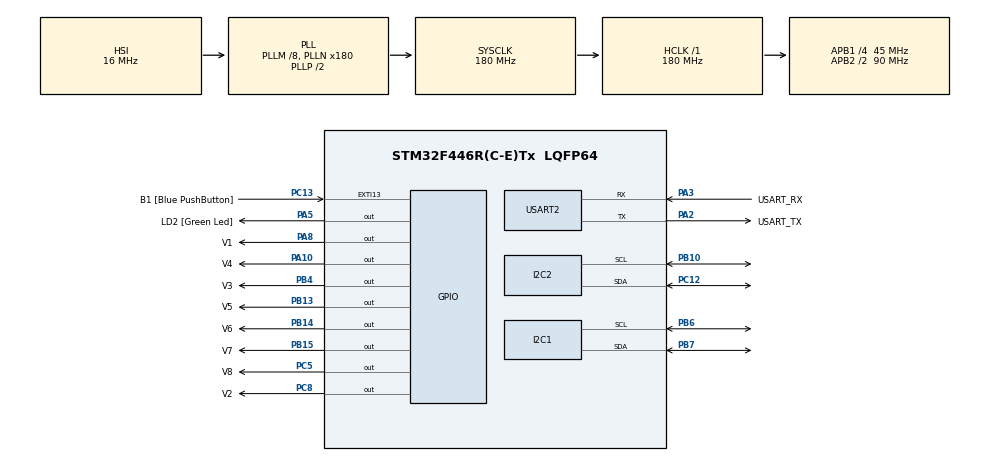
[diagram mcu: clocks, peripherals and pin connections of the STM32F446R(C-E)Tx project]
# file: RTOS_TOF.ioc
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FREERTOS.INCLUDE_vTaskCleanUpResources=1
FREERTOS.INCLUDE_vTaskDelayUntil=1
FREERTOS.INCLUDE_xTaskAbortDelay=1
FREERTOS.Tasks01=defaultTask,0,128,StartDefaultTask,Default,NULL,Dynamic,NULL,NULL;myTask02,-3,128,StartTask02,Default,NULL,Dynamic,NULL,NULL;myTask03,-3,128,StartTask03,Default,NULL,Dynamic,NULL,NULL;myTask04,-3,128,StartTask04,Default,NULL,Dynamic,NULL,NULL;myTask05,-3,128,StartTask05,Default,NULL,Dynamic,NULL,NULL;myTask06,-3,128,StartTask06,Default,NULL,Dynamic,NULL,NULL;myTask07,-3,128,StartTask07,Default,NULL,Dynamic,NULL,NULL
FREERTOS.configUSE_NEWLIB_REENTRANT=1
Mcu.Family=STM32F4
Mcu.Name=STM32F446R(C-E)Tx
Mcu.Package=LQFP64
NVIC.PriorityGroup=NVIC_PRIORITYGROUP_4
NVIC.TIM1_UP_TIM10_IRQn=true\:15\:0\:false\:false\:true\:false\:false\:true\:true
NVIC.TimeBase=TIM1_UP_TIM10_IRQn
NVIC.TimeBaseIP=TIM1
PA10.GPIO_Label=V4
PA10.Signal=GPIO_Output
PA13.GPIO_Label=TMS
PA13.Mode=Serial_Wire
PA13.Signal=SYS_JTMS-SWDIO
PA14.GPIO_Label=TCK
PA14.Mode=Serial_Wire
PA14.Signal=SYS_JTCK-SWCLK
PA2.GPIO_Label=USART_TX
PA2.Mode=Asynchronous
PA2.Signal=USART2_TX
PA3.GPIO_Label=USART_RX
PA3.Mode=Asynchronous
PA3.Signal=USART2_RX
PA5.GPIO_Label=LD2 [Green Led]
PA5.Signal=GPIO_Output
PA8.GPIO_Label=V1
PA8.Signal=GPIO_Output
PB10.Mode=I2C
PB10.Signal=I2C2_SCL
PB13.GPIO_Label=V5
PB13.Signal=GPIO_Output
PB14.GPIO_Label=V6
PB14.Signal=GPIO_Output
PB15.GPIO_Label=V7
PB15.Signal=GPIO_Output
PB3.GPIO_Label=SWO
PB3.Signal=SYS_JTDO-SWO
PB4.GPIO_Label=V3
PB4.Signal=GPIO_Output
PB6.Mode=I2C
PB6.Signal=I2C1_SCL
PB7.Mode=I2C
PB7.Signal=I2C1_SDA
PC12.Mode=I2C
PC12.Signal=I2C2_SDA
PC13.GPIO_Label=B1 [Blue PushButton]
PC13.GPIO_ModeDefaultEXTI=GPIO_MODE_IT_FALLING
PC13.Signal=GPXTI13
PC14-OSC32_IN.Mode=LSE-External-Oscillator
PC14-OSC32_IN.Signal=RCC_OSC32_IN
PC15-OSC32_OUT.Mode=LSE-External-Oscillator
PC15-OSC32_OUT.Signal=RCC_OSC32_OUT
PC5.GPIO_Label=V8
PC5.Signal=GPIO_Output
PC8.GPIO_Label=V2
PC8.Signal=GPIO_Output
PH0-OSC_IN.Mode=HSE-External-Oscillator
PH0-OSC_IN.Signal=RCC_OSC_IN
PH1-OSC_OUT.Mode=HSE-External-Oscillator
PH1-OSC_OUT.Signal=RCC_OSC_OUT
ProjectManager.HeapSize=0x200
ProjectManager.StackSize=0x400
ProjectManager.TargetToolchain=STM32CubeIDE
RCC.48MHZClocksFreq_Value=84000000
RCC.AHBFreq_Value=180000000
RCC.APB1CLKDivider=RCC_HCLK_DIV4
RCC.APB1Freq_Value=45000000
RCC.APB1TimFreq_Value=90000000
RCC.APB2CLKDivider=RCC_HCLK_DIV2
RCC.APB2Freq_Value=90000000
RCC.APB2TimFreq_Value=180000000
RCC.CortexFreq_Value=180000000
RCC.FLatency-AdvancedSettings=FLASH_LATENCY_5
RCC.HCLKFreq_Value=180000000
RCC.HSE_VALUE=8000000
RCC.HSI_VALUE=16000000
RCC.PLLM=8
RCC.PLLN=180
RCC.SYSCLKFreq_VALUE=180000000
RCC.SYSCLKSource=RCC_SYSCLKSOURCE_PLLCLK
RCC.USBFreq_Value=180000000
RCC.VCOOutputFreq_Value=360000000
USART2.VirtualMode=VM_ASYNC
VP_FREERTOS_VS_CMSIS_V1.Mode=CMSIS_V1
VP_SYS_VS_tim1.Mode=TIM1
board=NUCLEO-F446RE

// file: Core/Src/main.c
/* USER CODE BEGIN Header */
/**
  ******************************************************************************
  * @file           : main.c
  * @brief          : Main program body
  ******************************************************************************
  * @attention
  *
  * Copyright (c) 2025 STMicroelectronics.
  * All rights reserved.
  *
  * This software is licensed under terms that can be found in the LICENSE file
  * in the root directory of this software component.
  * If no LICENSE file comes with this software, it is provided AS-IS.
  *
  ******************************************************************************
  */
/* USER CODE END Header */
#include "main.h"
#include "cmsis_os.h"
#include "string.h"
#include "VL53L0X.h"

I2C_HandleTypeDef hi2c1;
I2C_HandleTypeDef hi2c2;

UART_HandleTypeDef huart2;

osThreadId myTask01Handle;
osThreadId myTask02Handle;
osThreadId myTask03Handle;

void SystemClock_Config(void);
static void MX_GPIO_Init(void);
static void MX_I2C1_Init(void);
static void MX_I2C2_Init(void);
static void MX_USART2_UART_Init(void);

void StartTask01(void const * argument);
void StartTask02(void const * argument);
void StartTask03(void const * argument);

/* USER CODE BEGIN PFP */
void reset_GPIO(void);
void set_TOF1(void);
void set_TOF2(void);
void set_TOF3(void);
void set_TOF4(void);
void set_TOF5(void);
void set_TOF6(void);
void set_TOF7(void);
void set_TOF8(void);
void setup_sensor(void);
/* USER CODE END PFP */
statInfo_t_VL53L0X extraStats1,
extraStats2,
extraStats3,
extraStats4,
extraStats5,
extraStats6,
extraStats7,
extraStats8;

uint16_t distance1;
uint16_t distance2;
uint16_t distance3;
uint16_t distance4;
uint16_t distance5;
uint16_t distance6;
uint16_t distance7;
uint16_t distance8;

int main(void)
{

  /* MCU Configuration--------------------------------------------------------*/

  /* Reset of all peripherals, Initializes the Flash interface and the Systick. */
  HAL_Init();

  /* Configure the system clock */
  SystemClock_Config();

  /* Initialize all configured peripherals */
  MX_GPIO_Init();
  MX_I2C1_Init();
  MX_I2C2_Init();
  MX_USART2_UART_Init();
  /* USER CODE BEGIN 2 */
  /*reset_GPIO();
  set_TOF1();
  set_TOF2();
  set_TOF3();
  set_TOF4();
  set_TOF5();
  set_TOF6();
  set_TOF7();
  set_TOF8();
  setup_sensor();*/

  HAL_GPIO_WritePin(V1_GPIO_Port, V1_Pin, GPIO_PIN_RESET);
  HAL_GPIO_WritePin(V2_GPIO_Port, V2_Pin, GPIO_PIN_RESET);
  HAL_GPIO_WritePin(V3_GPIO_Port, V3_Pin, GPIO_PIN_RESET);
  HAL_GPIO_WritePin(V4_GPIO_Port, V4_Pin, GPIO_PIN_RESET);
  HAL_GPIO_WritePin(V5_GPIO_Port, V5_Pin, GPIO_PIN_RESET);
  HAL_GPIO_WritePin(V6_GPIO_Port, V6_Pin, GPIO_PIN_RESET);
  HAL_GPIO_WritePin(V7_GPIO_Port, V7_Pin, GPIO_PIN_RESET);
  HAL_GPIO_WritePin(V8_GPIO_Port, V8_Pin, GPIO_PIN_RESET);
  HAL_Delay(10);

  //sensor 1
   HAL_GPIO_WritePin(V1_GPIO_Port, V1_Pin, GPIO_PIN_SET);
   HAL_Delay(50);
   if(initVL53L0X(1, &hi2c1)){
 	  HAL_UART_Transmit(&huart2, "sensor 1 initialized/n", strlen("sensor 1 initialized"), HAL_MAX_DELAY);
   }
   else{
	   HAL_UART_Transmit(&huart2, "error", strlen("error"), HAL_MAX_DELAY);
   }

  setAddress_VL53L0X(0x30);
  extraStats1.address=0x30;

  //sensor 2
   HAL_GPIO_WritePin(V2_GPIO_Port, V2_Pin, GPIO_PIN_SET);
   HAL_Delay(50);

  if(initVL53L0X(1, &hi2c1)){
   HAL_UART_Transmit(&huart2, "sensor 2 initialized/n", strlen("sensor 2 initialized"), HAL_MAX_DELAY);
   }
  else{
 	   HAL_UART_Transmit(&huart2, "error", strlen("error"), HAL_MAX_DELAY);
    }
//
  setAddress_VL53L0X(0x32);
   extraStats2.address=0x32;

   //sensor 3
   HAL_GPIO_WritePin(V3_GPIO_Port, V3_Pin, GPIO_PIN_SET);
   HAL_Delay(50);

  if(initVL53L0X(1, &hi2c1)){
   HAL_UART_Transmit(&huart2, "sensor 3 initialized/n", strlen("sensor 3 initialized"), HAL_MAX_DELAY);
   }
  else{
 	   HAL_UART_Transmit(&huart2, "error", strlen("error"), HAL_MAX_DELAY);
    }
//
  setAddress_VL53L0X(0x34);
   extraStats3.address=0x34;

   //sensor 4
   HAL_GPIO_WritePin(V4_GPIO_Port, V4_Pin, GPIO_PIN_SET);
   HAL_Delay(50);

  if(initVL53L0X(1, &hi2c1)){
   HAL_UART_Transmit(&huart2, "sensor 4 initialized/n", strlen("sensor 4 initialized"), HAL_MAX_DELAY);
   }
  else{
 	   HAL_UART_Transmit(&huart2, "error", strlen("error"), HAL_MAX_DELAY);
    }
//
  setAddress_VL53L0X(0x36);
   extraStats4.address=0x36;

   //sensor 5
   HAL_GPIO_WritePin(V5_GPIO_Port, V5_Pin, GPIO_PIN_SET);
   HAL_Delay(50);
   if(initVL53L0X(1, &hi2c1)){
 	  HAL_UART_Transmit(&huart2, "sensor 5 initialized/n", strlen("sensor 5 initialized"), HAL_MAX_DELAY);
   }
   else{
	   HAL_UART_Transmit(&huart2, "error", strlen("error"), HAL_MAX_DELAY);
   }

  setAddress_VL53L0X(0x38);
  extraStats5.address=0x38;

  //sensor 6
   HAL_GPIO_WritePin(V6_GPIO_Port, V6_Pin, GPIO_PIN_SET);
   HAL_Delay(50);

  if(initVL53L0X(1, &hi2c1)){
   HAL_UART_Transmit(&huart2, "sensor 6 initialized/n", strlen("sensor 6 initialized"), HAL_MAX_DELAY);
   }
  else{
 	   HAL_UART_Transmit(&huart2, "error", strlen("error"), HAL_MAX_DELAY);
    }
//
  setAddress_VL53L0X(0x40);
   extraStats6.address=0x40;

   //sensor 7
   HAL_GPIO_WritePin(V7_GPIO_Port, V7_Pin, GPIO_PIN_SET);
   HAL_Delay(50);

  if(initVL53L0X(1, &hi2c1)){
   HAL_UART_Transmit(&huart2, "sensor 7 initialized/n", strlen("sensor 7 initialized"), HAL_MAX_DELAY);
   }
  else{
 	   HAL_UART_Transmit(&huart2, "error", strlen("error"), HAL_MAX_DELAY);
    }
//
  setAddress_VL53L0X(0x42);
   extraStats7.address=0x42;

   //sensor 8
   HAL_GPIO_WritePin(V8_GPIO_Port, V8_Pin, GPIO_PIN_SET);
   HAL_Delay(50);

  if(initVL53L0X(1, &hi2c1)){
   HAL_UART_Transmit(&huart2, "sensor 8 initialized/n", strlen("sensor 8 initialized"), HAL_MAX_DELAY);
   }
  else{
 	   HAL_UART_Transmit(&huart2, "error", strlen("error"), HAL_MAX_DELAY);
    }
//
  setAddress_VL53L0X(0x44);
   extraStats8.address=0x44;

   setSignalRateLimit_x(2000,&extraStats1);
   setSignalRateLimit_x(2000,&extraStats2);
   setSignalRateLimit_x(2000,&extraStats3);
   setSignalRateLimit_x(2000,&extraStats4);
   setSignalRateLimit_x(2000,&extraStats5);
   setSignalRateLimit_x(2000,&extraStats6);
   setSignalRateLimit_x(2000,&extraStats7);
   setSignalRateLimit_x(2000,&extraStats8);

   setVcselPulsePeriod_x(VcselPeriodPreRange, 10, &extraStats1);
  setVcselPulsePeriod_x(VcselPeriodPreRange, 10, &extraStats2);
  setVcselPulsePeriod_x(VcselPeriodPreRange, 10, &extraStats3);
  setVcselPulsePeriod_x(VcselPeriodPreRange, 10, &extraStats4);
  setVcselPulsePeriod_x(VcselPeriodPreRange, 10, &extraStats5);
    setVcselPulsePeriod_x(VcselPeriodPreRange, 10, &extraStats6);
    setVcselPulsePeriod_x(VcselPeriodPreRange, 10, &extraStats7);
    setVcselPulsePeriod_x(VcselPeriodPreRange, 10, &extraStats8);

   setVcselPulsePeriod_x(VcselPeriodFinalRange, 14, &extraStats1);
   setVcselPulsePeriod_x(VcselPeriodFinalRange, 14, &extraStats2);
   setVcselPulsePeriod_x(VcselPeriodFinalRange, 14, &extraStats3);
   setVcselPulsePeriod_x(VcselPeriodFinalRange, 14, &extraStats4);
   setVcselPulsePeriod_x(VcselPeriodFinalRange, 14, &extraStats5);
   setVcselPulsePeriod_x(VcselPeriodFinalRange, 14, &extraStats6);
   setVcselPulsePeriod_x(VcselPeriodFinalRange, 14, &extraStats7);
   setVcselPulsePeriod_x(VcselPeriodFinalRange, 14, &extraStats8);

   setMeasurementTimingBudget_x(300 * 1000UL, &extraStats1);
   setMeasurementTimingBudget_x(300 * 1000UL, &extraStats2);
   setMeasurementTimingBudget_x(300 * 1000UL, &extraStats2);
   setMeasurementTimingBudget_x(300 * 1000UL, &extraStats2);
   setMeasurementTimingBudget_x(300 * 1000UL, &extraStats5);
   setMeasurementTimingBudget_x(300 * 1000UL, &extraStats6);
   setMeasurementTimingBudget_x(300 * 1000UL, &extraStats7);
   setMeasurementTimingBudget_x(300 * 1000UL, &extraStats8);

  /* USER CODE END 2 */

  /* Create the thread(s) */
  /* definition and creation of defaultTask */
  osThreadDef(myTask01, StartTask01, osPriorityAboveNormal, 0, 1024);
  myTask01Handle = osThreadCreate(osThread(myTask01), NULL);

  /* definition and creation of myTask02 */
  osThreadDef(myTask02, StartTask02, osPriorityAboveNormal, 0, 1024);
  myTask02Handle = osThreadCreate(osThread(myTask02), NULL);

  /* definition and creation of myTask03 */
  osThreadDef(myTask03, StartTask03, osPriorityNormal, 0, 1024);
  myTask03Handle = osThreadCreate(osThread(myTask03), NULL);

  /* Start scheduler */
  osKernelStart();

  /* We should never get here as control is now taken by the scheduler */

  /* Infinite loop */
  while (1)
  {
  }
}

void SystemClock_Config(void)
{
  RCC_OscInitTypeDef RCC_OscInitStruct = {0};
  RCC_ClkInitTypeDef RCC_ClkInitStruct = {0};

  /** Configure the main internal regulator output voltage
  */
  __HAL_RCC_PWR_CLK_ENABLE();
  __HAL_PWR_VOLTAGESCALING_CONFIG(PWR_REGULATOR_VOLTAGE_SCALE1);

  /** Initializes the RCC Oscillators according to the specified parameters
  * in the RCC_OscInitTypeDef structure.
  */
  RCC_OscInitStruct.OscillatorType = RCC_OSCILLATORTYPE_HSI;
  RCC_OscInitStruct.HSIState = RCC_HSI_ON;
  RCC_OscInitStruct.HSICalibrationValue = RCC_HSICALIBRATION_DEFAULT;
  RCC_OscInitStruct.PLL.PLLState = RCC_PLL_ON;
  RCC_OscInitStruct.PLL.PLLSource = RCC_PLLSOURCE_HSI;
  RCC_OscInitStruct.PLL.PLLM = 8;
  RCC_OscInitStruct.PLL.PLLN = 180;
  RCC_OscInitStruct.PLL.PLLP = RCC_PLLP_DIV2;
  RCC_OscInitStruct.PLL.PLLQ = 2;
  RCC_OscInitStruct.PLL.PLLR = 2;
  if (HAL_RCC_OscConfig(&RCC_OscInitStruct) != HAL_OK)
  {
    Error_Handler();
  }

  /** Activate the Over-Drive mode
  */
  if (HAL_PWREx_EnableOverDrive() != HAL_OK)
  {
    Error_Handler();
  }

  /** Initializes the CPU, AHB and APB buses clocks
  */
  RCC_ClkInitStruct.ClockType = RCC_CLOCKTYPE_HCLK|RCC_CLOCKTYPE_SYSCLK
                              |RCC_CLOCKTYPE_PCLK1|RCC_CLOCKTYPE_PCLK2;
  RCC_ClkInitStruct.SYSCLKSource = RCC_SYSCLKSOURCE_PLLCLK;
  RCC_ClkInitStruct.AHBCLKDivider = RCC_SYSCLK_DIV1;
  RCC_ClkInitStruct.APB1CLKDivider = RCC_HCLK_DIV4;
  RCC_ClkInitStruct.APB2CLKDivider = RCC_HCLK_DIV2;

  if (HAL_RCC_ClockConfig(&RCC_ClkInitStruct, FLASH_LATENCY_5) != HAL_OK)
  {
    Error_Handler();
  }
}

static void MX_I2C1_Init(void)
{

  hi2c1.Instance = I2C1;
  hi2c1.Init.ClockSpeed = 100000;
  hi2c1.Init.DutyCycle = I2C_DUTYCYCLE_2;
  hi2c1.Init.OwnAddress1 = 0;
  hi2c1.Init.AddressingMode = I2C_ADDRESSINGMODE_7BIT;
  hi2c1.Init.DualAddressMode = I2C_DUALADDRESS_DISABLE;
  hi2c1.Init.OwnAddress2 = 0;
  hi2c1.Init.GeneralCallMode = I2C_GENERALCALL_DISABLE;
  hi2c1.Init.NoStretchMode = I2C_NOSTRETCH_DISABLE;
  if (HAL_I2C_Init(&hi2c1) != HAL_OK)
  {
    Error_Handler();
  }

}

static void MX_I2C2_Init(void)
{

  hi2c2.Instance = I2C2;
  hi2c2.Init.ClockSpeed = 100000;
  hi2c2.Init.DutyCycle = I2C_DUTYCYCLE_2;
  hi2c2.Init.OwnAddress1 = 0;
  hi2c2.Init.AddressingMode = I2C_ADDRESSINGMODE_7BIT;
  hi2c2.Init.DualAddressMode = I2C_DUALADDRESS_DISABLE;
  hi2c2.Init.OwnAddress2 = 0;
  hi2c2.Init.GeneralCallMode = I2C_GENERALCALL_DISABLE;
  hi2c2.Init.NoStretchMode = I2C_NOSTRETCH_DISABLE;
  if (HAL_I2C_Init(&hi2c2) != HAL_OK)
  {
    Error_Handler();
  }

}

static void MX_USART2_UART_Init(void)
{

  huart2.Instance = USART2;
  huart2.Init.BaudRate = 115200;
  huart2.Init.WordLength = UART_WORDLENGTH_8B;
  huart2.Init.StopBits = UART_STOPBITS_1;
  huart2.Init.Parity = UART_PARITY_NONE;
  huart2.Init.Mode = UART_MODE_TX_RX;
  huart2.Init.HwFlowCtl = UART_HWCONTROL_NONE;
  huart2.Init.OverSampling = UART_OVERSAMPLING_16;
  if (HAL_UART_Init(&huart2) != HAL_OK)
  {
    Error_Handler();
  }

}

static void MX_GPIO_Init(void)
{
  GPIO_InitTypeDef GPIO_InitStruct = {0};

  /* GPIO Ports Clock Enable */
  __HAL_RCC_GPIOC_CLK_ENABLE();
  __HAL_RCC_GPIOH_CLK_ENABLE();
  __HAL_RCC_GPIOA_CLK_ENABLE();
  __HAL_RCC_GPIOB_CLK_ENABLE();

  /*Configure GPIO pin Output Level */
  HAL_GPIO_WritePin(GPIOA, LD2_Pin|V1_Pin|V4_Pin, GPIO_PIN_RESET);

  /*Configure GPIO pin Output Level */
  HAL_GPIO_WritePin(GPIOC, V8_Pin|V2_Pin, GPIO_PIN_RESET);

  /*Configure GPIO pin Output Level */
  HAL_GPIO_WritePin(GPIOB, V5_Pin|V6_Pin|V7_Pin|V3_Pin, GPIO_PIN_RESET);

  /*Configure GPIO pin : B1_Pin */
  GPIO_InitStruct.Pin = B1_Pin;
  GPIO_InitStruct.Mode = GPIO_MODE_IT_FALLING;
  GPIO_InitStruct.Pull = GPIO_NOPULL;
  HAL_GPIO_Init(B1_GPIO_Port, &GPIO_InitStruct);

  /*Configure GPIO pins : LD2_Pin V1_Pin V4_Pin */
  GPIO_InitStruct.Pin = LD2_Pin|V1_Pin|V4_Pin;
  GPIO_InitStruct.Mode = GPIO_MODE_OUTPUT_PP;
  GPIO_InitStruct.Pull = GPIO_NOPULL;
  GPIO_InitStruct.Speed = GPIO_SPEED_FREQ_LOW;
  HAL_GPIO_Init(GPIOA, &GPIO_InitStruct);

  /*Configure GPIO pins : V8_Pin V2_Pin */
  GPIO_InitStruct.Pin = V8_Pin|V2_Pin;
  GPIO_InitStruct.Mode = GPIO_MODE_OUTPUT_PP;
  GPIO_InitStruct.Pull = GPIO_NOPULL;
  GPIO_InitStruct.Speed = GPIO_SPEED_FREQ_LOW;
  HAL_GPIO_Init(GPIOC, &GPIO_InitStruct);

  /*Configure GPIO pins : V5_Pin V6_Pin V7_Pin V3_Pin */
  GPIO_InitStruct.Pin = V5_Pin|V6_Pin|V7_Pin|V3_Pin;
  GPIO_InitStruct.Mode = GPIO_MODE_OUTPUT_PP;
  GPIO_InitStruct.Pull = GPIO_NOPULL;
  GPIO_InitStruct.Speed = GPIO_SPEED_FREQ_LOW;
  HAL_GPIO_Init(GPIOB, &GPIO_InitStruct);

}

/* USER CODE BEGIN 4 */
void reset_GPIO(){

	  HAL_GPIO_WritePin(V1_GPIO_Port, V1_Pin, GPIO_PIN_RESET);
	  HAL_GPIO_WritePin(V2_GPIO_Port, V2_Pin, GPIO_PIN_RESET);
	  HAL_GPIO_WritePin(V3_GPIO_Port, V3_Pin, GPIO_PIN_RESET);
	  HAL_GPIO_WritePin(V4_GPIO_Port, V4_Pin, GPIO_PIN_RESET);
	  HAL_GPIO_WritePin(V5_GPIO_Port, V5_Pin, GPIO_PIN_RESET);
	  HAL_GPIO_WritePin(V6_GPIO_Port, V6_Pin, GPIO_PIN_RESET);
	  HAL_GPIO_WritePin(V7_GPIO_Port, V7_Pin, GPIO_PIN_RESET);
	  HAL_GPIO_WritePin(V8_GPIO_Port, V8_Pin, GPIO_PIN_RESET);
	  HAL_Delay(10);

}

void set_TOF1(){

	   HAL_GPIO_WritePin(V1_GPIO_Port, V1_Pin, GPIO_PIN_SET);
	   HAL_Delay(50);
	   if(initVL53L0X(1, &hi2c1)){
		   HAL_UART_Transmit(&huart2, "sensor 1 initialized/n", strlen("sensor 1 initialized"), HAL_MAX_DELAY);
	   }
	   else{
		   HAL_UART_Transmit(&huart2, "error", strlen("error"), HAL_MAX_DELAY);
	   }
	  setAddress_VL53L0X(0x30);
	  extraStats1.address=0x30;

}

void set_TOF2(){

	   HAL_GPIO_WritePin(V2_GPIO_Port, V2_Pin, GPIO_PIN_SET);
	   HAL_Delay(50);

	  if(initVL53L0X(1, &hi2c1)){
		  HAL_UART_Transmit(&huart2, "sensor 2 initialized/n", strlen("sensor 2 initialized"), HAL_MAX_DELAY);
	   }
	  else{
		  HAL_UART_Transmit(&huart2, "error", strlen("error"), HAL_MAX_DELAY);
	  }
	  setAddress_VL53L0X(0x32);
	  extraStats2.address=0x32;

}

void set_TOF3(){

	   HAL_GPIO_WritePin(V3_GPIO_Port, V3_Pin, GPIO_PIN_SET);
	   HAL_Delay(50);

	  if(initVL53L0X(1, &hi2c1)){
		  HAL_UART_Transmit(&huart2, "sensor 3 initialized/n", strlen("sensor 3 initialized"), HAL_MAX_DELAY);
	   }
	  else{
	 	  HAL_UART_Transmit(&huart2, "error", strlen("error"), HAL_MAX_DELAY);
	    }
	  setAddress_VL53L0X(0x34);
	  extraStats3.address=0x34;

}

void set_TOF4(){
	   HAL_GPIO_WritePin(V4_GPIO_Port, V4_Pin, GPIO_PIN_SET);
	   HAL_Delay(50);

	  if(initVL53L0X(1, &hi2c1)){
		  HAL_UART_Transmit(&huart2, "sensor 4 initialized/n", strlen("sensor 4 initialized"), HAL_MAX_DELAY);
	   }
	  else{
		  HAL_UART_Transmit(&huart2, "error", strlen("error"), HAL_MAX_DELAY);
	    }
	  setAddress_VL53L0X(0x36);
	  extraStats4.address=0x36;
}

void set_TOF5(){
	   HAL_GPIO_WritePin(V5_GPIO_Port, V5_Pin, GPIO_PIN_SET);
	   HAL_Delay(50);
	   if(initVL53L0X(1, &hi2c1)){
		   HAL_UART_Transmit(&huart2, "sensor 5 initialized/n", strlen("sensor 5 initialized"), HAL_MAX_DELAY);
	   }
	   else{
		   HAL_UART_Transmit(&huart2, "error", strlen("error"), HAL_MAX_DELAY);
	   }

	  setAddress_VL53L0X(0x38);
	  extraStats5.address=0x38;
}

void set_TOF6(){
	   HAL_GPIO_WritePin(V6_GPIO_Port, V6_Pin, GPIO_PIN_SET);
	   HAL_Delay(50);

	  if(initVL53L0X(1, &hi2c1)){
		  HAL_UART_Transmit(&huart2, "sensor 6 initialized/n", strlen("sensor 6 initialized"), HAL_MAX_DELAY);
	   }
	  else{
		  HAL_UART_Transmit(&huart2, "error", strlen("error"), HAL_MAX_DELAY);
	    }
	  setAddress_VL53L0X(0x40);
	  extraStats6.address=0x40;
}

void set_TOF7(){
	   HAL_GPIO_WritePin(V7_GPIO_Port, V7_Pin, GPIO_PIN_SET);
	   HAL_Delay(50);

	  if(initVL53L0X(1, &hi2c1)){
		  HAL_UART_Transmit(&huart2, "sensor 7 initialized/n", strlen("sensor 7 initialized"), HAL_MAX_DELAY);
	   }
	  else{
		  HAL_UART_Transmit(&huart2, "error", strlen("error"), HAL_MAX_DELAY);
	    }
	  setAddress_VL53L0X(0x42);
	  extraStats7.address=0x42;
}

void set_TOF8(){
	   HAL_GPIO_WritePin(V8_GPIO_Port, V8_Pin, GPIO_PIN_SET);
	   HAL_Delay(50);

	  if(initVL53L0X(1, &hi2c1)){
		  HAL_UART_Transmit(&huart2, "sensor 8 initialized/n", strlen("sensor 8 initialized"), HAL_MAX_DELAY);
	   }
	  else{
		  HAL_UART_Transmit(&huart2, "error", strlen("error"), HAL_MAX_DELAY);
	    }
	  setAddress_VL53L0X(0x44);
	  extraStats8.address=0x44;
}

void setup_sensor(){

	   setSignalRateLimit_x(2000,&extraStats1);
	   setSignalRateLimit_x(2000,&extraStats2);
	   setSignalRateLimit_x(2000,&extraStats3);
	   setSignalRateLimit_x(2000,&extraStats4);
	   setSignalRateLimit_x(2000,&extraStats5);
	   setSignalRateLimit_x(2000,&extraStats6);
	   setSignalRateLimit_x(2000,&extraStats7);
	   setSignalRateLimit_x(2000,&extraStats8);

	   setVcselPulsePeriod_x(VcselPeriodPreRange, 10, &extraStats1);
	   setVcselPulsePeriod_x(VcselPeriodPreRange, 10, &extraStats2);
	   setVcselPulsePeriod_x(VcselPeriodPreRange, 10, &extraStats3);
	   setVcselPulsePeriod_x(VcselPeriodPreRange, 10, &extraStats4);
	   setVcselPulsePeriod_x(VcselPeriodPreRange, 10, &extraStats5);
	   setVcselPulsePeriod_x(VcselPeriodPreRange, 10, &extraStats6);
	   setVcselPulsePeriod_x(VcselPeriodPreRange, 10, &extraStats7);
	   setVcselPulsePeriod_x(VcselPeriodPreRange, 10, &extraStats8);

	   setVcselPulsePeriod_x(VcselPeriodFinalRange, 14, &extraStats1);
	   setVcselPulsePeriod_x(VcselPeriodFinalRange, 14, &extraStats2);
	   setVcselPulsePeriod_x(VcselPeriodFinalRange, 14, &extraStats3);
	   setVcselPulsePeriod_x(VcselPeriodFinalRange, 14, &extraStats4);
	   setVcselPulsePeriod_x(VcselPeriodFinalRange, 14, &extraStats5);
	   setVcselPulsePeriod_x(VcselPeriodFinalRange, 14, &extraStats6);
	   setVcselPulsePeriod_x(VcselPeriodFinalRange, 14, &extraStats7);
	   setVcselPulsePeriod_x(VcselPeriodFinalRange, 14, &extraStats8);

	   setMeasurementTimingBudget_x(300 * 1000UL, &extraStats1);
	   setMeasurementTimingBudget_x(300 * 1000UL, &extraStats2);
	   setMeasurementTimingBudget_x(300 * 1000UL, &extraStats2);
	   setMeasurementTimingBudget_x(300 * 1000UL, &extraStats2);
	   setMeasurementTimingBudget_x(300 * 1000UL, &extraStats5);
	   setMeasurementTimingBudget_x(300 * 1000UL, &extraStats6);
	   setMeasurementTimingBudget_x(300 * 1000UL, &extraStats7);
	   setMeasurementTimingBudget_x(300 * 1000UL, &extraStats8);
}

/* USER CODE END 4 */

void StartTask01(void const * argument)
{
  /* USER CODE BEGIN StartTask02 */
  /* Infinite loop */
  for(;;)
  {
	  distance1= readRangeSingleMillimeters(&extraStats1);
	char msgBuffer_1[20];
	sprintf(msgBuffer_1, "Distance1: %d\r\n", distance1);
	HAL_UART_Transmit(&huart2, (uint8_t*) msgBuffer_1, sizeof(msgBuffer_1), HAL_MAX_DELAY);	//HAL_UART_Transmit(&huart2, "TASK 1\n", strlen("TASK 1\n"), HAL_MAX_DELAY);
    osDelay(50);
  }
  /* USER CODE END StartTask02 */
}
void StartTask02(void const * argument)
{
  /* USER CODE BEGIN StartTask02 */
  /* Infinite loop */
  for(;;)
  {
	  distance5= readRangeSingleMillimeters(&extraStats5);
	  char msgBuffer_2[20];
	  sprintf(msgBuffer_2, "Distance2: %d\r\n", distance5);
	  HAL_UART_Transmit(&huart2, (uint8_t*) msgBuffer_2, sizeof(msgBuffer_2), HAL_MAX_DELAY);
	//HAL_UART_Transmit(&huart2, "TASK 2\n", strlen("TASK 2\n"), HAL_MAX_DELAY);
    osDelay(30);
  }
  /* USER CODE END StartTask02 */
}

void StartTask03(void const * argument)
{
  /* USER CODE BEGIN StartTask03 */
  /* Infinite loop */
  for(;;)
  {
    osDelay(10000);
  }
  /* USER CODE END StartTask03 */
}

void HAL_TIM_PeriodElapsedCallback(TIM_HandleTypeDef *htim)
{
  if (htim->Instance == TIM1) {
    HAL_IncTick();
  }
}

void Error_Handler(void)
{
  __disable_irq();
  while (1)
  {
  }
}
